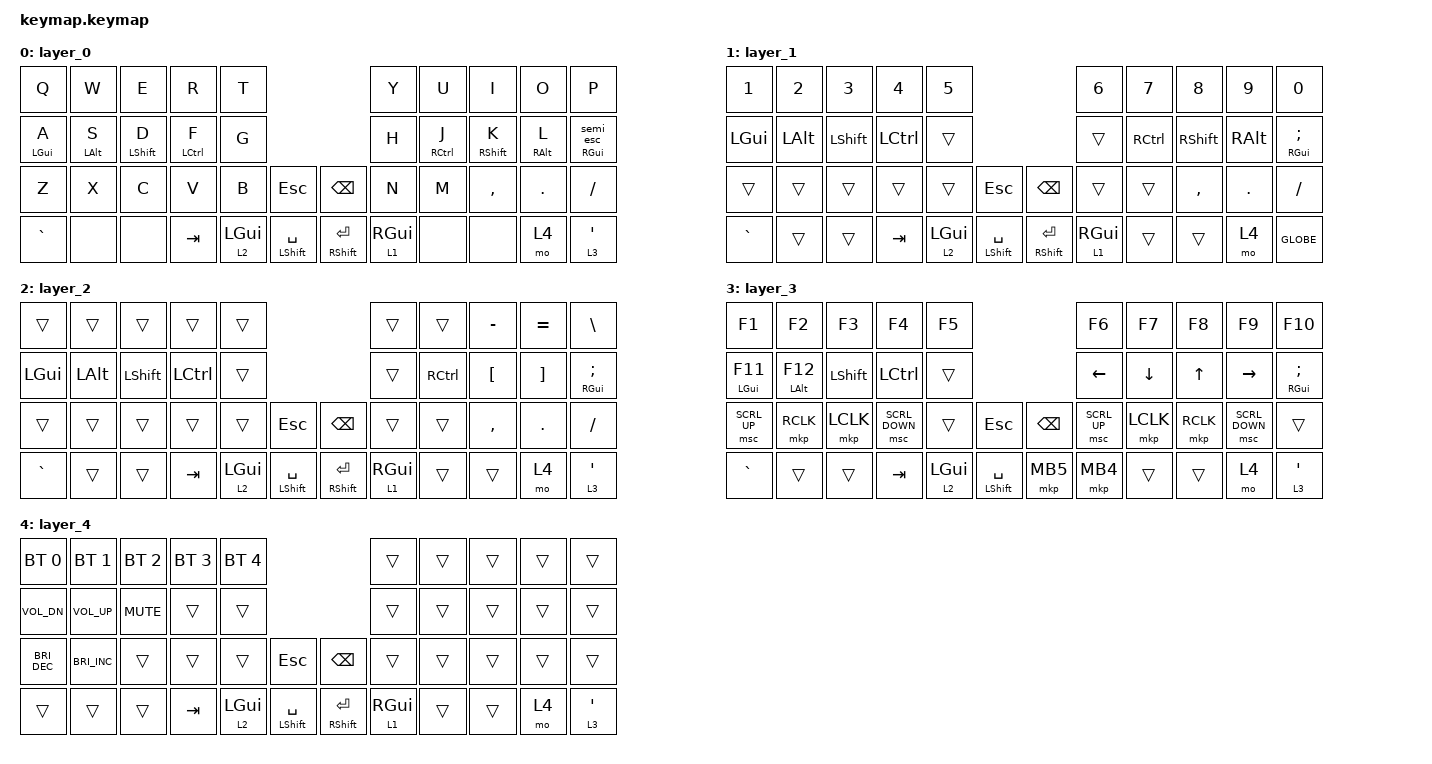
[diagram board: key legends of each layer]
#define ZMK_POINTING_DEFAULT_MOVE_VAL 1200  // default: 600
#define ZMK_POINTING_DEFAULT_SCRL_VAL 20    // default: 10

#include <behaviors.dtsi>
#include <dt-bindings/zmk/bt.h>
#include <dt-bindings/zmk/keys.h>
#include <dt-bindings/zmk/outputs.h>
#include <dt-bindings/zmk/pointing.h>

// cf.) boards/shields/torabo_tsuki_lp/torabo_tsuki_lp_layouts.dtsi
//
//  [ 0]  [ 1]  [ 2]  [ 3]  [ 4]      |       [ 5]  [ 6]  [ 7]  [ 8]  [ 9]  <- Q列
// 
//  [10]  [11]  [12]  [13]  [14]      |       [15]  [16]  [17]  [18]  [19]  <- ホーム列
// 
//  [20]  [21]  [22]  [23]  [24] [25] | [26]  [27]  [28]  [29]  [30]  [31]  <- Z列
// 
//  [32]  [33]  [34]  [35]  [36] [37] | [38]  [39]  [40]  [41]  [42]  [43]  <- 最下段

/ {
    behaviors {
        // layer switching
        // l_s: layer_switch {
        //     compatible = "zmk,behavior-hold-tap";
        //     #binding-cells = <2>;
        //     flavor = "hold-preferred";
        //     tapping-term-ms = <200>;
        //     bindings = <&mo>, <&to>;
        // };

        // for Home row mods
        hml: home_row_mod_left {
            compatible = "zmk,behavior-hold-tap";
            #binding-cells = <2>;
            flavor = "balanced";
            require-prior-idle-ms = <150>;
            tapping-term-ms = <200>;
            quick-tap-ms = <175>;
            bindings = <&kp>, <&kp>;
            hold-trigger-key-positions = <16 17 18 19>; // List of keys on the right side of the keyboard
            hold-trigger-on-release;
        };
        hmr: home_row_mod_right {
            compatible = "zmk,behavior-hold-tap";
            #binding-cells = <2>;
            flavor = "balanced";
            require-prior-idle-ms = <150>;
            tapping-term-ms = <200>;
            quick-tap-ms = <175>;
            bindings = <&kp>, <&kp>;
            hold-trigger-key-positions = <10 11 12 13>; // List of keys on the left side of the keyboard
            hold-trigger-on-release;
        };

        // for `Ctrl (F held)` + `;` -> `Esc`
        semi_esc: semi_or_esc {
            compatible = "zmk,behavior-mod-morph";
            #binding-cells = <0>;
            bindings = <&kp SEMI>, <&kp ESC>;
            mods = <(MOD_LCTL)>;
        };
        hmr_semi: home_row_mod_right_semi {
            compatible = "zmk,behavior-hold-tap";
            #binding-cells = <2>;
            flavor = "balanced";
            require-prior-idle-ms = <150>;
            tapping-term-ms = <200>;
            quick-tap-ms = <175>;
            bindings = <&kp>, <&semi_esc>;
            hold-trigger-key-positions = <10 11 12 13>; // List of keys on the left side of the keyboard
            hold-trigger-on-release;
        };
    };

    combos {
        compatible = "zmk,combos";

        // for default layer
        combo_capslock {
            bindings = <&kp CAPSLOCK>;
            key-positions = <13 16>; // F & J (both index fingers under the `Home row mods` condition)
            timeout-ms = <50>;
        };

        // could't work
        /* combo_delete {   */
        /*     bindings = <&kp DELETE>;   */
        /*     key-positions = <12 26>; // D & BACKSPACE (`shift + backspace` under th `Home row mods` condition) */
        /*     timeout-ms = <50>;   */
        /* };   */

        // for Raise layer
        combo_f1 {
            bindings = <&kp F1>;
            key-positions = <0 43>;  // N1 & GLOBE
            layers = <1>;
            timeout-ms = <50>;
        };
        combo_f2 {
            bindings = <&kp F2>;
            key-positions = <1 43>;  // N2 & GLOBE
            layers = <1>;
            timeout-ms = <50>;
        };
        combo_f3 {
            bindings = <&kp F3>;
            key-positions = <2 43>;  // N3 & GLOBE
            layers = <1>;
            timeout-ms = <50>;
        };
        combo_f4 {
            bindings = <&kp F4>;
            key-positions = <3 43>;  // N4 & GLOBE
            layers = <1>;
            timeout-ms = <50>;
        };
        combo_f5 {
            bindings = <&kp F5>;
            key-positions = <4 43>;  // N5 & GLOBE
            layers = <1>;
            timeout-ms = <50>;
        };
        combo_f6 {
            bindings = <&kp F6>;
            key-positions = <5 43>;  // N6 & GLOBE
            layers = <1>;
            timeout-ms = <50>;
        };
        combo_f7 {
            bindings = <&kp F7>;
            key-positions = <6 43>;  // N7 & GLOBE
            layers = <1>;
            timeout-ms = <50>;
        };
        combo_f8 {
            bindings = <&kp F8>;
            key-positions = <7 43>;  // N8 & GLOBE
            layers = <1>;
            timeout-ms = <50>;
        };
        combo_f9 {
            bindings = <&kp F9>;
            key-positions = <8 43>;  // N9 & GLOBE
            layers = <1>;
            timeout-ms = <50>;
        };
        combo_f10 {
            bindings = <&kp F10>;
            key-positions = <9 43>;  // N0 & GLOBE
            layers = <1>;
            timeout-ms = <50>;
        };
        combo_f11 {
            bindings = <&kp F11>;
            key-positions = <10 43>;  // LGUI(A行) & GLOBE
            layers = <1>;
            timeout-ms = <50>;
        };
        combo_f12 {
            bindings = <&kp F12>;
            key-positions = <11 43>;  // LALT(S行) & GLOBE
            layers = <1>;
            timeout-ms = <50>;
        };

        // for media layer
        bt_clear {
            bindings = <&bt BT_CLR>;
            key-positions = <32 33>; // (GRAVE) & (none) // 最下段, 最左の2 key
            layers = <4>;
        };
    };

    keymap {
        compatible = "zmk,keymap";

// default layer
//
// Adopted `Home Row Mods`
//  - GASC ( ⌘ ⌥ ⇧ ^  ) / CSAG ( ^ ⇧ ⌥ ⌘ )
//
// `hmr_semi RGUI 0`: the trailing `0` is a dummy argument for the tap side
// (`&semi_esc` takes 0 params), required only to fill the hold-tap's
// `#binding-cells = <2>` slot. It has no effect on the actual output.
        layer_0 {
            bindings = <
&kp Q         &kp W         &kp E          &kp R         &kp T                                        &kp Y        &kp U          &kp I         &kp O       &kp P
&hml LGUI A   &hml LALT S   &hml LSHFT D   &hml LCTRL F  &kp G                                        &kp H        &hmr RCTRL J   &hmr RSHFT K  &hmr RALT L &hmr_semi RGUI 0
&kp Z         &kp X         &kp C          &kp V         &kp B        &kp ESC          &kp BSPC       &kp N        &kp M          &kp COMMA     &kp DOT     &kp SLASH
&kp GRAVE     &none         &none          &kp TAB       &lt 2 LGUI   &mt LSHFT SPACE  &mt RSHFT RET  &lt 1 RGUI   &none          &none         &mo 4       &lt 3 SQT
            >;
        };

// Raise layer
//
// symbols:
//    - !@#$%^&*(): `shift` + `number keys`
//
// F keys: `GLOBE` + `NX`
//    - @see: combo section
//
        layer_1 {
            bindings = <
&kp N1      &kp N2      &kp N3        &kp N4        &kp N5                                      &kp N6       &kp N7      &kp N8        &kp N9      &kp N0
&kp LGUI    &kp LALT    &kp LSHFT     &kp LCTRL     &trans                                      &trans       &kp RCTRL   &kp RSHFT     &kp RALT    &mt RGUI SEMI
&trans      &trans      &trans        &trans        &trans        &kp ESC         &kp BSPC      &trans       &trans      &kp COMMA     &kp DOT     &kp SLASH
&kp GRAVE   &trans      &trans        &kp TAB       &lt 2 LGUI    &mt LSHFT SPACE &mt RSHFT RET &lt 1 RGUI   &trans      &trans        &mo 4       &kp GLOBE
            >;
        };

// Lower layer
//
// ----------------------------------------------------------------------------
// |   |    |   |   |     |               |     |   | - | =       | \         |
// | ⌘ | ⎇  | ⇧ | ⌃ |     |               |     | ⌃ | [ | ]       | ; ⌘       |
// |   |    |   |   |     | ⎋   |   | ⌫   |     |   | , | .       | /         |
// | ` | ⇥  |   |   | ▽ ⌘ | ⇧ ␣ |   | ⇧ ⏎ | ▲ ⌘ |   |   | LAYER 4 | LAYER 3 ' |
//
        layer_2 {
            bindings = <
&trans      &trans      &trans        &trans        &trans                                      &trans       &trans      &kp MINUS     &kp EQUAL   &kp BACKSLASH
&kp LGUI    &kp LALT    &kp LSHFT     &kp LCTRL     &trans                                      &trans       &kp RCTRL   &kp LBKT      &kp RBKT    &mt RGUI SEMI
&trans      &trans      &trans        &trans        &trans        &kp ESC         &kp BSPC      &trans       &trans      &kp COMMA     &kp DOT     &kp SLASH
&kp GRAVE   &trans      &trans        &kp TAB       &lt 2 LGUI    &mt LSHFT SPACE &mt RSHFT RET &lt 1 RGUI   &trans      &trans        &mo 4       &lt 3 SQT
            >;
        };

// F keys / Mouse layer
        layer_3 {
            bindings = <
&kp F1        &kp F2        &kp F3        &kp F4          &kp F5                                    &kp F6       &kp F7      &kp F8      &kp F9           &kp F10
&mt LGUI F11  &mt LALT F12  &kp LSHFT     &kp LCTRL       &trans                                    &kp LEFT     &kp DOWN    &kp UP      &kp RIGHT        &mt RGUI SEMI
&msc SCRL_UP  &mkp RCLK     &mkp LCLK     &msc SCRL_DOWN  &trans        &kp ESC         &kp BSPC    &msc SCRL_UP &mkp LCLK   &mkp RCLK   &msc SCRL_DOWN   &trans
&kp GRAVE     &trans        &trans        &kp TAB         &lt 2 LGUI    &mt LSHFT SPACE &mkp MB5    &mkp MB4     &trans      &trans      &mo 4            &lt 3 SQT
            >;
        };

// Media layer
        layer_4 {
            bindings = <
&bt BT_SEL 0    &bt BT_SEL 1           &bt BT_SEL 2  &bt BT_SEL 3  &bt BT_SEL 4                                &trans      &trans   &trans  &trans  &trans
&kp C_VOL_DN    &kp C_VOL_UP           &kp C_MUTE    &trans        &trans                                      &trans      &trans   &trans  &trans  &trans
&kp C_BRI_DEC   &kp C_BRIGHTNESS_INC   &trans        &trans        &trans        &kp ESC         &kp BSPC      &trans      &trans   &trans  &trans  &trans
&trans          &trans                 &trans        &kp TAB       &lt 2 LGUI    &mt LSHFT SPACE &mt RSHFT RET &lt 1 RGUI  &trans   &trans  &mo 4   &lt 3 SQT
            >;
        };
    };
};
